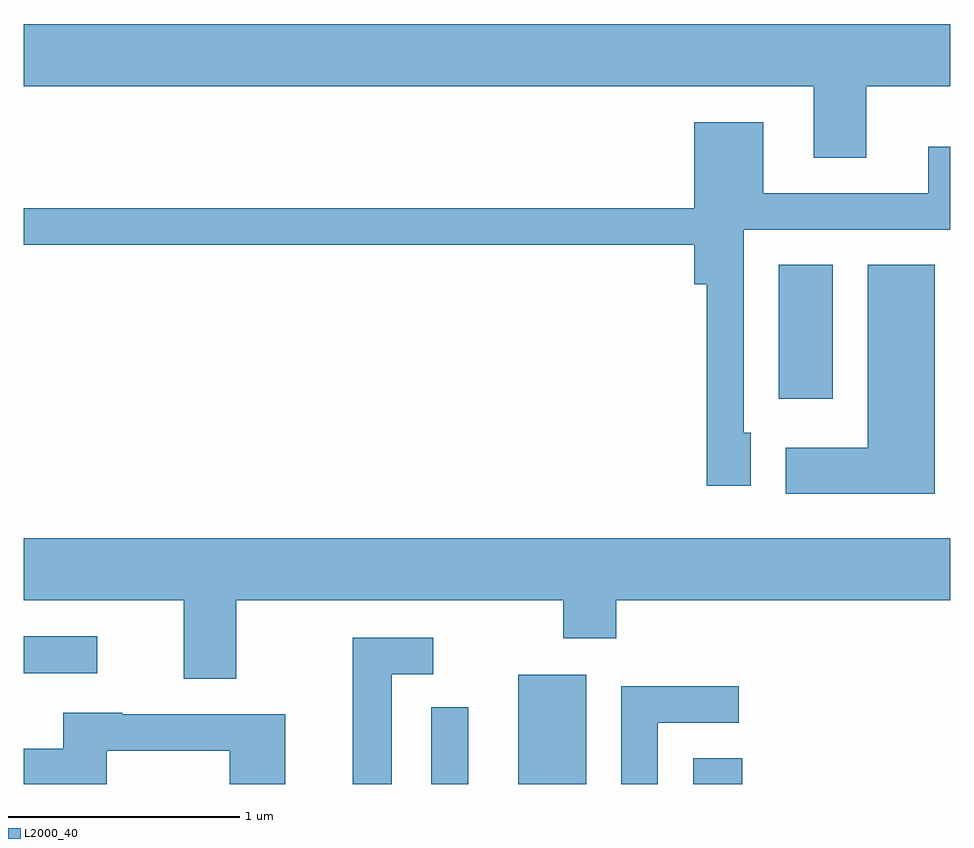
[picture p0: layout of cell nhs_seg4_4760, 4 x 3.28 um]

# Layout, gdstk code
import gdstk
lib = gdstk.Library(unit=1e-6, precision=1e-09)
def R(c, l, rs):  # rectangles x0, y0, x1, y1
    for r in rs: c.add(gdstk.rectangle(r[:2], r[2:], *l))
def P(c, l, *ps):  # polygons
    for p in ps: c.add(gdstk.Polygon(p, *l))
L2000_40 = (2000, 40)

nhs_seg4_4760 = lib.new_cell('nhs_seg4_4760')
R(nhs_seg4_4760, L2000_40, [(327.371,1253.982,327.529,1254.313), (327.746,1253.982,328.039,1254.454), (328.501,1253.982,328.714,1254.094), (325.611,1254.461,325.928,1254.619), (328.871,1255.646,329.104,1256.224)])
P(nhs_seg4_4760, L2000_40, [(329.249,1256.996),(329.611,1256.996),(329.611,1257.264),(325.611,1257.264),(325.611,1256.996),(329.021,1256.996),(329.021,1256.686),(329.249,1256.686)],
  [(328.749,1255.499),(328.719,1255.499),(328.719,1256.376),(329.611,1256.376),(329.611,1256.733),(329.516,1256.733),(329.516,1256.534),(328.804,1256.534),(328.804,1256.839),(328.506,1256.839),(328.506,1256.469),(325.611,1256.469),(325.611,1256.311),(328.506,1256.311),(328.506,1256.141),(328.561,1256.141),(328.561,1255.271),(328.749,1255.271)],
  [(329.544,1256.224),(329.256,1256.224),(329.256,1255.434),(328.901,1255.434),(328.901,1255.236),(329.544,1255.236)],
  [(326.529,1254.776),(327.941,1254.776),(327.941,1254.611),(328.169,1254.611),(328.169,1254.776),(329.611,1254.776),(329.611,1255.044),(325.611,1255.044),(325.611,1254.776),(326.301,1254.776),(326.301,1254.436),(326.529,1254.436)],
  [(327.199,1254.456),(327.378,1254.456),(327.378,1254.614),(327.031,1254.614),(327.031,1253.982),(327.199,1253.982)],
  [(328.349,1254.246),(328.698,1254.246),(328.698,1254.404),(328.191,1254.404),(328.191,1253.982),(328.349,1253.982)],
  [(325.969,1254.126),(326.501,1254.126),(326.501,1253.982),(326.739,1253.982),(326.739,1254.284),(326.035,1254.284),(326.035,1254.289),(325.781,1254.289),(325.781,1254.134),(325.611,1254.134),(325.611,1253.982),(325.969,1253.982)])

lib.write_gds('nhs_seg4_4760.gds')
